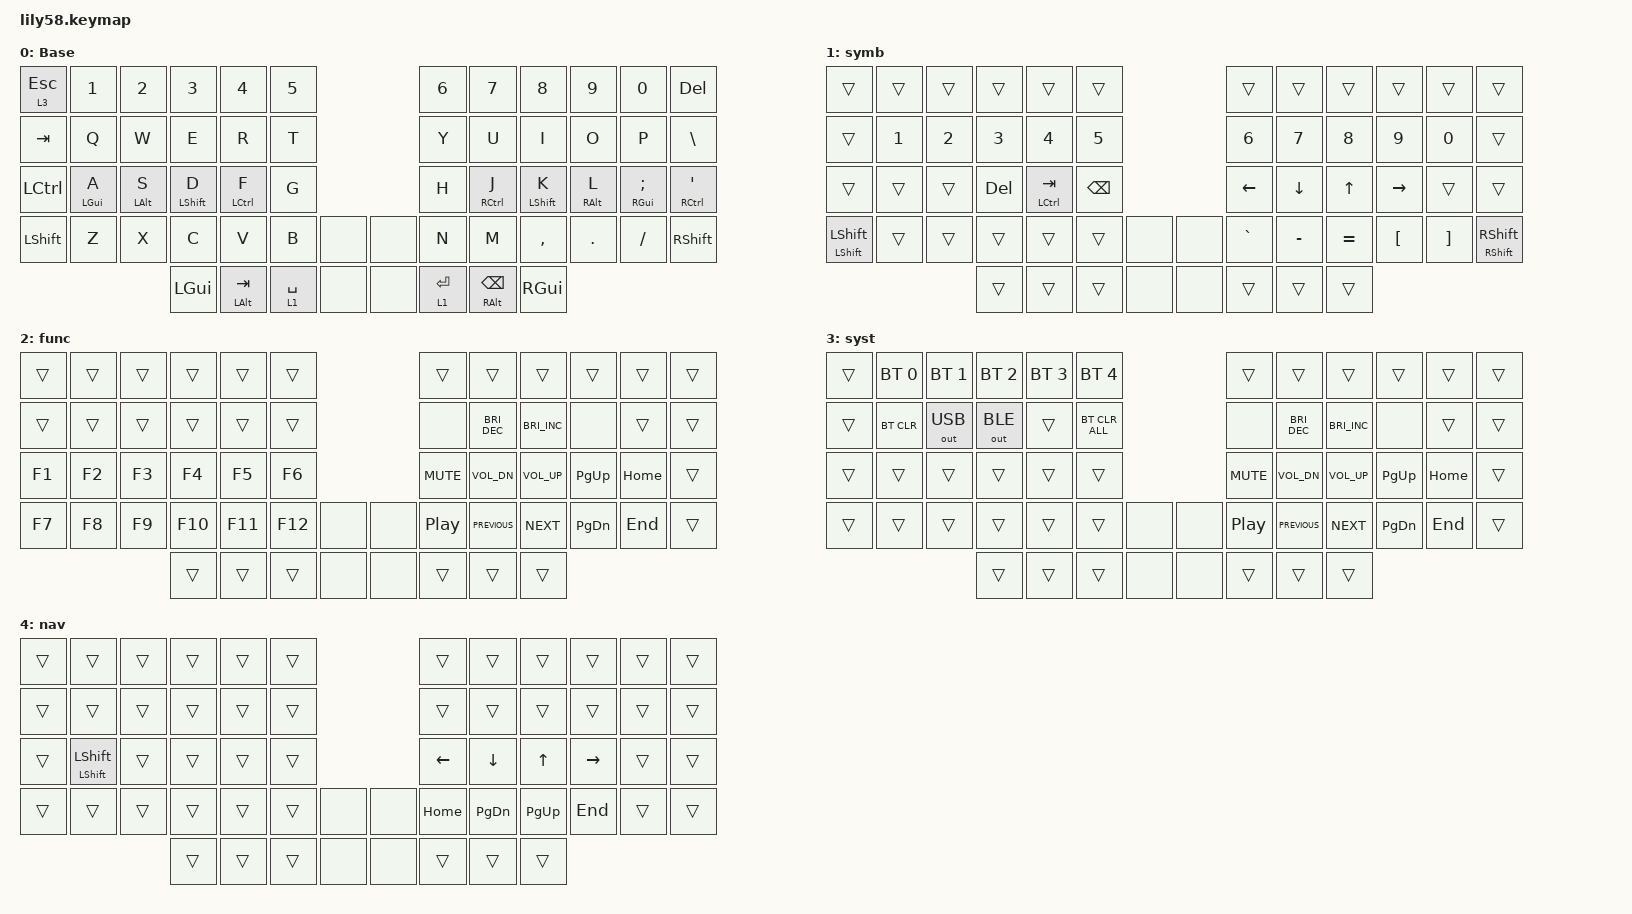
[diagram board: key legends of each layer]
/*
 * Copyright (c) 2020 The ZMK Contributors
 *
 * SPDX-License-Identifier: MIT
 */

#include <behaviors.dtsi>
#include <dt-bindings/zmk/bt.h>
#include <dt-bindings/zmk/keys.h>
#include <dt-bindings/zmk/outputs.h>

/ {
    behaviors {
        hml: hmL {
            compatible = "zmk,behavior-hold-tap";
            #binding-cells = <2>;
            tapping-term-ms = <280>;
            quick-tap-ms = <175>;
            require-prior-idle-ms = <150>;
            flavor = "balanced";
            bindings = <&kp>, <&kp>;

            display-name = "hm";
            hold-trigger-on-release;
            hold-trigger-key-positions = <52 51 50 6 7 8 9 10 11 18 19 20 21 22 23 30 31 32 33 34 35 44 45 46 47 48 49 55 56 57>;
        };

        ltb: ltBal {
            compatible = "zmk,behavior-hold-tap";
            #binding-cells = <2>;
            tapping-term-ms = <200>;
            quick-tap-ms = <175>;
            require-prior-idle-ms = <150>;
            flavor = "balanced";
            bindings = <&mo>, <&kp>;

            display-name = "lt_bal";
            hold-while-undecided;
        };

        mBsDel: morphBackspaceDel {
            compatible = "zmk,behavior-mod-morph";
            bindings = <&kp BACKSPACE>, <&kp DEL>;

            #binding-cells = <0>;
            mods = <(MOD_LSFT|MOD_RSFT)>;
            keep-mods = <(MOD_LCTL|MOD_LALT|MOD_LGUI)>;
        };

        hmr: hmR {
            compatible = "zmk,behavior-hold-tap";
            #binding-cells = <2>;
            tapping-term-ms = <280>;
            quick-tap-ms = <175>;
            require-prior-idle-ms = <150>;
            flavor = "balanced";
            bindings = <&kp>, <&kp>;

            display-name = "hm";
            hold-trigger-on-release;
            hold-trigger-key-positions = <52 51 50 55 56 57 0 1 2 3 4 5 12 13 14 15 16 17 24 25 26 27 28 29 36 37 38 39 40 41>;
            label = "HMR";
        };

        htRepeat: htRepeat {
            compatible = "zmk,behavior-hold-tap";
            label = "HTREPEAT";
            bindings = <&kp>, <&kp>;

            #binding-cells = <2>;
            flavor = "tap-preferred";
            tapping-term-ms = <150>;
            quick-tap-ms = <150>;
            require-prior-idle-ms = <125>;
        };

        mtb: mtBal {
            compatible = "zmk,behavior-hold-tap";
            label = "MTB";
            bindings = <&kp>, <&kp>;

            #binding-cells = <2>;
            tapping-term-ms = <200>;
            quick-tap-ms = <200>;
            flavor = "balanced";
            require-prior-idle-ms = <150>;
            hold-while-undecided;
        };

        hmlShift: hmlShift {
            compatible = "zmk,behavior-hold-tap";
            label = "HMLSHIFT";
            bindings = <&kp>, <&kp>;

            #binding-cells = <2>;
            tapping-term-ms = <280>;
            hold-trigger-key-positions = <6 7 8 9 18 19 20 21 30 31 32 33 44 45 46 47 55 56 57 10 11 10 11 22 23 34 35 48 49>;
            hold-while-undecided;
            hold-trigger-on-release;
            flavor = "balanced";
            require-prior-idle-ms = <150>;
            quick-tap-ms = <200>;
        };

        hmrShift: hmrShift {
            compatible = "zmk,behavior-hold-tap";
            label = "HMRSHIFT";
            bindings = <&kp>, <&kp>;

            #binding-cells = <2>;
            tapping-term-ms = <280>;
            hold-while-undecided;
            hold-trigger-on-release;
            hold-trigger-key-positions = <0 1 2 3 4 5 12 13 14 15 16 17 24 25 26 27 28 29 36 37 38 39 40 41 50 51 52>;
            flavor = "balanced";
            quick-tap-ms = <200>;
            require-prior-idle-ms = <150>;
        };

        htSkyShift: holdTapStickyShift {
            compatible = "zmk,behavior-hold-tap";
            label = "HTSKYSHIFT";
            bindings = <&kp>, <&sk>;

            #binding-cells = <2>;
            tapping-term-ms = <200>;
        };
    };

    combos {
        compatible = "zmk,combos";

        cEsc {
            bindings = <&kp ESC>;
            key-positions = <31 32>;
            layers = <0>;
            timeout-ms = <30>;
            require-prior-idle-ms = <150>;
        };

        cGrTil {
            bindings = <&kp GRAVE>;
            key-positions = <47 48>;
            layers = <0>;
            timeout-ms = <30>;
            require-prior-idle-ms = <150>;
        };

        cTil {
            bindings = <&kp TILDE>;
            key-positions = <41 29>;
            layers = <0>;
        };

        cEqPlus {
            bindings = <&kp EQUAL>;
            key-positions = <20 21>;
            layers = <0>;
            timeout-ms = <30>;
            require-prior-idle-ms = <150>;
        };

        cRBrktObso {
            bindings = <&kp PIPE>;
            key-positions = <22 23>;
            layers = <0>;
            timeout-ms = <30>;
            require-prior-idle-ms = <150>;
        };

        cLPar {
            bindings = <&kp LPAR>;
            key-positions = <30 31>;
            layers = <0>;
            timeout-ms = <30>;
            require-prior-idle-ms = <150>;
        };

        cLSqBrkt {
            bindings = <&kp LEFT_BRACKET>;
            key-positions = <45 46>;
            layers = <0>;
            timeout-ms = <30>;
            require-prior-idle-ms = <150>;
        };

        cMinusUnd {
            bindings = <&kp MINUS>;
            key-positions = <19 20>;
            timeout-ms = <30>;
            require-prior-idle-ms = <150>;
            layers = <0>;
        };

        cRPar {
            bindings = <&kp RPAR>;
            key-positions = <44 45>;
            layers = <0>;
            timeout-ms = <30>;
            require-prior-idle-ms = <150>;
        };

        cRBrkt {
            bindings = <&kp RIGHT_BRACKET>;
            key-positions = <46 47>;
            layers = <0>;
            timeout-ms = <30>;
            require-prior-idle-ms = <150>;
        };

        cL2 {
            bindings = <&mo 2>;
            key-positions = <52 55>;
        };

        cUnd {
            bindings = <&kp UNDER>;
            key-positions = <30 44>;
        };
    };

    keymap {
        compatible = "zmk,keymap";

        default_layer {
            // ------------------------------------------------------------------------------------------------------------
            // |  ESC  |  1  |  2  |  3   |  4   |  5   |                   |  6   |  7    |  8    |  9   |   0   |  BSPC |
            // |  TAB  |  Q  |  W  |  E   |  R   |  T   |                   |  Y   |  U    |  I    |  O   |   P   |   \   |
            // | CTRL  |GUI/A|ALT/S|CTL/D |  F   |  G   |                   |  H   |  J    |CTL/K  |ALT/L |GUI/; |  '/"  |
            // | SHIFT |  Z  |  X  |  C   |  V   |  B   |  n/a   |  |  n/a  |  N   |  M    |  ,    |  .   |   /   | SHIFT |
            //                     | GUI  |L1/TAB| SPACE|  n/a   |  |  n/a  |L2/RET| BSPC  | ALT   |
            // Note: Home row mods - A/S/D = GUI/Alt/Ctrl (left), K/L/; = Ctrl/Alt/GUI (right)
            // Dedicated Ctrl on left corner for instant terminal commands

            display-name = "Base";
            bindings = <
&ltb 3 ESC  &kp N1       &kp N2       &kp N3                  &kp N4             &kp N5                        &kp N6        &kp N7                    &kp N8                  &kp N9       &kp N0          &kp DEL
&kp TAB     &kp Q        &kp W        &kp E                   &kp R              &kp T                         &kp Y         &kp U                     &kp I                   &kp O        &kp P           &kp BACKSLASH
&kp LCTRL   &hml LGUI A  &hml LALT S  &hmlShift LEFT_SHIFT D  &hml LCTRL F       &kp G                         &kp H         &hmr RIGHT_CONTROL J      &hmrShift LEFT_SHIFT K  &hmr RALT L  &hmr RGUI SEMI  &mtb RIGHT_CONTROL SINGLE_QUOTE
&kp LSHFT   &kp Z        &kp X        &kp C                   &kp V              &kp B         &none    &none  &kp N         &kp M                     &kp COMMA               &kp PERIOD   &kp FSLH        &kp RSHFT
                                      &kp LEFT_GUI            &mtb LEFT_ALT TAB  &ltb 1 SPACE  &none    &none  &ltb 1 ENTER  &mtb RIGHT_ALT BACKSPACE  &kp RIGHT_GUI
            >;
        };

        symb {
            // ------------------------------------------------------------------------------------------------------------
            // | trans | trans|trans| trans| trans| trans|                   | trans| trans | trans | trans| trans | trans |
            // | trans |  !   |  @  |  #   |  $   |  %   |                   |  ^   |  &    |  *    |  (   |   )   | trans |
            // | trans |  1   |  2  |  3   |  4   |  5   |                   |  6   |  7    |  8    |  9   |   0   |  \|   |
            // | trans |  6   |  7  |  8   |  9   |  0   |  n/a   |  |  n/a  |  `~  |  -_   |  =+   |  [{  |   ]}  | trans |
            //                     | trans| trans| trans|  n/a   |  |  n/a  | trans| trans | trans |
            // Tap-dances: `~ = tap for `, double-tap for ~; -_ = tap -, double-tap _; etc.

            display-name = "symb";
            bindings = <
&trans                     &trans        &trans        &trans        &trans                 &trans                         &trans        &trans     &trans        &trans            &trans             &trans
&trans                     &kp NUMBER_1  &kp NUMBER_2  &kp NUMBER_3  &kp NUMBER_4           &kp N5                         &kp NUMBER_6  &kp N7     &kp N8        &kp N9            &kp N0             &trans
&trans                     &trans        &trans        &kp DELETE    &hml LEFT_CONTROL TAB  &kp BACKSPACE                  &kp LEFT      &kp DOWN   &kp UP_ARROW  &kp RIGHT         &trans             &trans
&htSkyShift LSHIFT LSHIFT  &trans        &trans        &trans        &trans                 &trans         &none    &none  &kp GRAVE     &kp MINUS  &kp EQUAL     &kp LEFT_BRACKET  &kp RIGHT_BRACKET  &htSkyShift RSHIFT RSHIFT
                                                       &trans        &trans                 &trans         &none    &none  &trans        &trans     &trans
            >;
        };

        func {
            display-name = "func";
            bindings = <
&trans  &trans  &trans  &trans   &trans   &trans                   &trans            &trans          &trans         &trans         &trans    &trans
&trans  &trans  &trans  &trans   &trans   &trans                   &none             &kp C_BRI_DEC   &kp C_BRI_INC  &none          &trans    &trans
&kp F1  &kp F2  &kp F3  &kp F4   &kp F5   &kp F6                   &kp C_MUTE        &kp C_VOL_DN    &kp C_VOL_UP   &kp PG_UP      &kp HOME  &trans
&kp F7  &kp F8  &kp F9  &kp F10  &kp F11  &kp F12  &none    &none  &kp C_PLAY_PAUSE  &kp C_PREVIOUS  &kp C_NEXT     &kp PAGE_DOWN  &kp END   &trans
                        &trans   &trans   &trans   &none    &none  &trans            &trans          &trans
            >;
        };

        syst {
            display-name = "syst";
            bindings = <
&trans  &bt BT_SEL 0  &bt BT_SEL 1  &bt BT_SEL 2  &bt BT_SEL 3  &bt BT_SEL 4                    &trans            &trans          &trans         &trans         &trans    &trans
&trans  &bt BT_CLR    &out OUT_USB  &out OUT_BLE  &trans        &bt BT_CLR_ALL                  &none             &kp C_BRI_DEC   &kp C_BRI_INC  &none          &trans    &trans
&trans  &trans        &trans        &trans        &trans        &trans                          &kp C_MUTE        &kp C_VOL_DN    &kp C_VOL_UP   &kp PG_UP      &kp HOME  &trans
&trans  &trans        &trans        &trans        &trans        &trans          &none    &none  &kp C_PLAY_PAUSE  &kp C_PREVIOUS  &kp C_NEXT     &kp PAGE_DOWN  &kp END   &trans
                                    &trans        &trans        &trans          &none    &none  &trans            &trans          &trans
            >;
        };

        nav {
            // ------------------------------------------------------------------------------------------------------------
            // | BTCLR | BT0  | BT1 | BT2  | BT3  | BT4  |                   | USB  | BLE   | trans | trans| trans |BT_CLR_A|
            // | trans | trans|trans| trans| trans| trans|                   | trans| trans | trans | trans| trans | trans |
            // | trans | trans|trans| trans| trans| trans|                   | trans| HOME  | PG_DN | PG_UP| END   | trans |
            // | trans | trans|trans| trans| trans| trans|  n/a   |  |  n/a  | trans| trans | trans | trans| trans | trans |
            //                     | trans| trans| trans|  n/a   |  |  n/a  | trans| trans | trans |
            // Note: Access via hold Enter - Bluetooth controls, USB/BLE switching, navigation keys

            display-name = "nav";
            bindings = <
&trans  &trans                        &trans  &trans  &trans  &trans                  &trans          &trans          &trans        &trans           &trans  &trans
&trans  &trans                        &trans  &trans  &trans  &trans                  &trans          &trans          &trans        &trans           &trans  &trans
&trans  &htSkyShift LSHFT LEFT_SHIFT  &trans  &trans  &trans  &trans                  &kp LEFT_ARROW  &kp DOWN_ARROW  &kp UP_ARROW  &kp RIGHT_ARROW  &trans  &trans
&trans  &trans                        &trans  &trans  &trans  &trans  &none    &none  &kp HOME        &kp PAGE_DOWN   &kp PAGE_UP   &kp END          &trans  &trans
                                              &trans  &trans  &trans  &none    &none  &trans          &trans          &trans
            >;
        };

        extra_2 { status = "reserved"; };
    };
};
